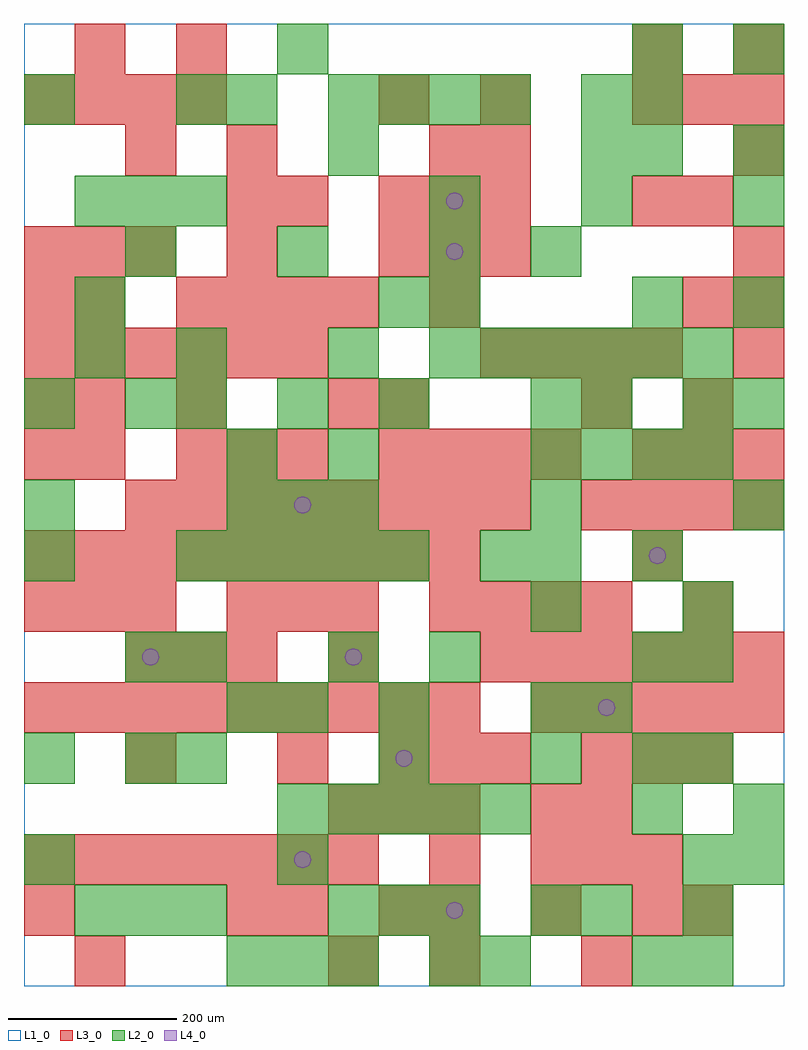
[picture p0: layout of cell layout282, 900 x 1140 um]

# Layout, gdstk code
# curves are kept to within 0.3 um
import gdstk
lib = gdstk.Library(unit=1e-6, precision=1e-09)
def R(c, l, rs):  # rectangles x0, y0, x1, y1
    for r in rs: c.add(gdstk.rectangle(r[:2], r[2:], *l))
def A(c, l, x, y, w, h, nx, ny, dx, dy):  # array of equal rectangles
    R(c, l, [(x+i*dx, y+j*dy, x+i*dx+w, y+j*dy+h) for i in range(nx) for j in range(ny)])
def P(c, l, *ps):  # polygons
    for p in ps: c.add(gdstk.Polygon(p, *l))
L1_0 = (1, 0)
L2_0 = (2, 0)
L3_0 = (3, 0)
L4_0 = (4, 0)

layout282 = lib.new_cell('layout282')
R(layout282, L1_0, [(0,0,900,1140)])
A(layout282, L2_0, 240, 0, 60, 60, 3, 2, 60, 540)
A(layout282, L2_0, 780, 0, 60, 60, 1, 3, 0, 60)
A(layout282, L2_0, 60, 60, 60, 60, 3, 2, 60, 840)
A(layout282, L2_0, 360, 60, 60, 60, 3, 1, 60, 0)
A(layout282, L2_0, 300, 180, 60, 60, 5, 1, 60, 0)
A(layout282, L2_0, 720, 240, 60, 60, 1, 3, 0, 120)
A(layout282, L2_0, 600, 420, 60, 60, 1, 3, 0, 60)
A(layout282, L2_0, 180, 480, 60, 60, 5, 1, 60, 0)
A(layout282, L2_0, 840, 540, 60, 60, 1, 3, 0, 120)
A(layout282, L2_0, 600, 600, 60, 60, 4, 1, 60, 0)
A(layout282, L2_0, 180, 660, 60, 60, 3, 1, 120, 0)
A(layout282, L2_0, 480, 720, 60, 60, 6, 1, 60, 0)
A(layout282, L2_0, 120, 840, 60, 60, 3, 1, 180, 0)
A(layout282, L2_0, 480, 900, 60, 60, 3, 1, 180, 0)
A(layout282, L2_0, 720, 960, 60, 60, 1, 3, 0, 60)
A(layout282, L2_0, 360, 1020, 60, 60, 4, 1, 60, 0)
R(layout282, L2_0, [(480,0,540,60), (540,0,600,60), (720,0,780,60), (600,60,660,120), (660,60,720,120), (0,120,60,180), (300,120,360,180), (840,120,900,180), (720,180,780,240), (840,180,900,240), (0,240,60,300), (120,240,180,300), (180,240,240,300), (420,240,480,300), (600,240,660,300), (780,240,840,300), (240,300,300,360), (300,300,360,360), (420,300,480,360), (600,300,660,360), (660,300,720,360), (120,360,180,420), (180,360,240,420), (360,360,420,420), (480,360,540,420), (780,360,840,420), (780,420,840,480), (0,480,60,540), (540,480,600,540), (0,540,60,600), (240,600,300,660), (360,600,420,660), (0,660,60,720), (120,660,180,720), (600,660,660,720), (660,660,720,720), (780,660,840,720), (60,720,120,780), (180,720,240,780), (360,720,420,780), (60,780,120,840), (420,780,480,840), (480,780,540,840), (720,780,780,840), (600,840,660,900), (360,960,420,1020), (660,960,720,1020), (840,960,900,1020), (0,1020,60,1080), (180,1020,240,1080), (240,1020,300,1080), (660,1020,720,1080), (300,1080,360,1140), (840,1080,900,1140)])
A(layout282, L3_0, 480, 60, 60, 60, 3, 1, 120, 0)
A(layout282, L3_0, 0, 120, 60, 60, 7, 1, 60, 0)
A(layout282, L3_0, 600, 120, 60, 60, 3, 1, 60, 0)
A(layout282, L3_0, 360, 180, 60, 60, 3, 1, 60, 0)
A(layout282, L3_0, 420, 240, 60, 60, 3, 2, 60, 600)
A(layout282, L3_0, 660, 240, 60, 60, 3, 1, 60, 0)
A(layout282, L3_0, 0, 300, 60, 60, 9, 2, 60, 180)
A(layout282, L3_0, 600, 300, 60, 60, 5, 1, 60, 0)
A(layout282, L3_0, 120, 360, 60, 60, 3, 1, 60, 0)
A(layout282, L3_0, 540, 360, 60, 60, 6, 1, 60, 0)
A(layout282, L3_0, 0, 420, 60, 60, 3, 2, 60, 420)
A(layout282, L3_0, 240, 420, 60, 60, 3, 1, 60, 0)
A(layout282, L3_0, 480, 420, 60, 60, 4, 1, 60, 0)
A(layout282, L3_0, 120, 540, 60, 60, 8, 1, 60, 0)
A(layout282, L3_0, 660, 540, 60, 60, 4, 1, 60, 0)
A(layout282, L3_0, 180, 600, 60, 60, 3, 1, 60, 0)
A(layout282, L3_0, 420, 600, 60, 60, 4, 1, 60, 0)
A(layout282, L3_0, 720, 600, 60, 60, 3, 2, 60, 420)
A(layout282, L3_0, 780, 660, 60, 60, 1, 3, 0, 120)
A(layout282, L3_0, 0, 720, 60, 60, 6, 1, 60, 0)
A(layout282, L3_0, 540, 720, 60, 60, 4, 1, 60, 0)
A(layout282, L3_0, 840, 720, 60, 60, 1, 3, 0, 60)
A(layout282, L3_0, 180, 780, 60, 60, 4, 1, 60, 0)
A(layout282, L3_0, 240, 840, 60, 60, 1, 3, 0, 60)
A(layout282, L3_0, 420, 900, 60, 60, 3, 1, 60, 0)
A(layout282, L3_0, 0, 1020, 60, 60, 4, 1, 60, 0)
R(layout282, L3_0, [(60,0,120,60), (360,0,420,60), (480,0,540,60), (660,0,720,60), (0,60,60,120), (240,60,300,120), (300,60,360,120), (420,60,480,120), (780,60,840,120), (480,120,540,180), (600,180,660,240), (660,180,720,240), (120,240,180,300), (300,240,360,300), (360,360,420,420), (780,420,840,480), (720,480,780,540), (0,600,60,660), (60,600,120,660), (0,660,60,720), (60,660,120,720), (180,660,240,720), (360,660,420,720), (420,660,480,720), (660,660,720,720), (0,780,60,840), (60,780,120,840), (480,780,540,840), (300,900,360,960), (720,900,780,960), (120,960,180,1020), (480,960,540,1020), (540,960,600,1020), (840,960,900,1020), (420,1020,480,1080), (540,1020,600,1080), (60,1080,120,1140), (180,1080,240,1140), (720,1080,780,1140), (840,1080,900,1140)])
P(layout282, L4_0, [(160,390),(159.239,393.827),(157.071,397.071),(153.827,399.239),(150,400),(146.173,399.239),(142.929,397.071),(140.761,393.827),(140,390),(140.761,386.173),(142.929,382.929),(146.173,380.761),(150,380),(153.827,380.761),(157.071,382.929),(159.239,386.173)],
  [(340,150),(339.239,153.827),(337.071,157.071),(333.827,159.239),(330,160),(326.173,159.239),(322.929,157.071),(320.761,153.827),(320,150),(320.761,146.173),(322.929,142.929),(326.173,140.761),(330,140),(333.827,140.761),(337.071,142.929),(339.239,146.173)],
  [(340,570),(339.239,573.827),(337.071,577.071),(333.827,579.239),(330,580),(326.173,579.239),(322.929,577.071),(320.761,573.827),(320,570),(320.761,566.173),(322.929,562.929),(326.173,560.761),(330,560),(333.827,560.761),(337.071,562.929),(339.239,566.173)],
  [(400,390),(399.239,393.827),(397.071,397.071),(393.827,399.239),(390,400),(386.173,399.239),(382.929,397.071),(380.761,393.827),(380,390),(380.761,386.173),(382.929,382.929),(386.173,380.761),(390,380),(393.827,380.761),(397.071,382.929),(399.239,386.173)],
  [(460,270),(459.239,273.827),(457.071,277.071),(453.827,279.239),(450,280),(446.173,279.239),(442.929,277.071),(440.761,273.827),(440,270),(440.761,266.173),(442.929,262.929),(446.173,260.761),(450,260),(453.827,260.761),(457.071,262.929),(459.239,266.173)],
  [(520,90),(519.239,93.827),(517.071,97.071),(513.827,99.239),(510,100),(506.173,99.239),(502.929,97.071),(500.761,93.827),(500,90),(500.761,86.173),(502.929,82.929),(506.173,80.761),(510,80),(513.827,80.761),(517.071,82.929),(519.239,86.173)],
  [(520,870),(519.239,873.827),(517.071,877.071),(513.827,879.239),(510,880),(506.173,879.239),(502.929,877.071),(500.761,873.827),(500,870),(500.761,866.173),(502.929,862.929),(506.173,860.761),(510,860),(513.827,860.761),(517.071,862.929),(519.239,866.173)],
  [(520,930),(519.239,933.827),(517.071,937.071),(513.827,939.239),(510,940),(506.173,939.239),(502.929,937.071),(500.761,933.827),(500,930),(500.761,926.173),(502.929,922.929),(506.173,920.761),(510,920),(513.827,920.761),(517.071,922.929),(519.239,926.173)],
  [(700,330),(699.239,333.827),(697.071,337.071),(693.827,339.239),(690,340),(686.173,339.239),(682.929,337.071),(680.761,333.827),(680,330),(680.761,326.173),(682.929,322.929),(686.173,320.761),(690,320),(693.827,320.761),(697.071,322.929),(699.239,326.173)],
  [(760,510),(759.239,513.827),(757.071,517.071),(753.827,519.239),(750,520),(746.173,519.239),(742.929,517.071),(740.761,513.827),(740,510),(740.761,506.173),(742.929,502.929),(746.173,500.761),(750,500),(753.827,500.761),(757.071,502.929),(759.239,506.173)])

lib.write_gds('layout282.gds')
